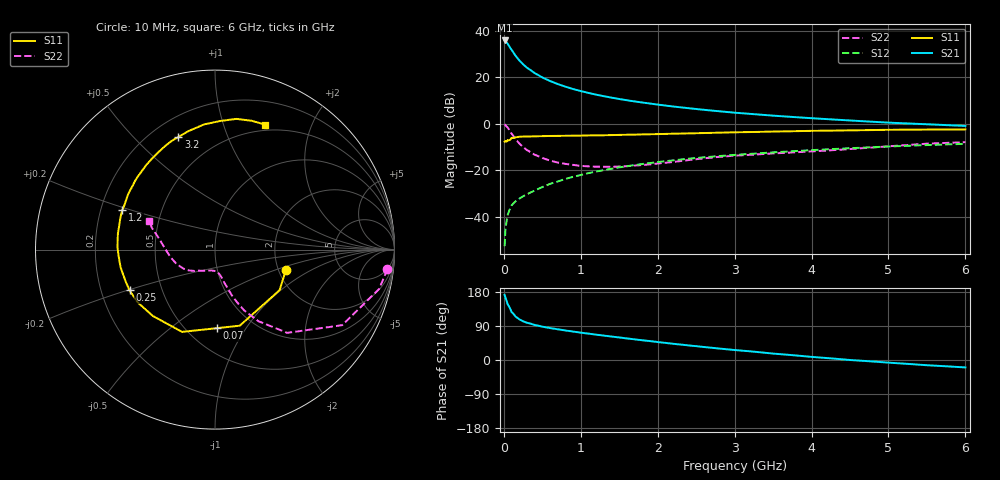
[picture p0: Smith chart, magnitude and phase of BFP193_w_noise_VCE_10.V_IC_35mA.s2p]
! Infineon Technologies  Discrete & RF Semiconductors
! BFP193
! VCE =  10. V,  IC =  35 mA
! Common Emitter S-Parameters:  Jan 2017
# GHz  S  MA  R  50
!  f  S11  S21  S12  S22
! GHz  MAG  ANG  MAG  ANG  MAG  ANG  MAG  ANG
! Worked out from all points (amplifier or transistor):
!   77 points, 10 MHz to 6 GHz, reference 50 ohm
!   highest |S21| = 35.8 dB at 10 MHz (marker M1)
!   |S21| within 3 dB of that: start of sweep to 79.75 MHz
!   unconditionally stable (mu >= 1): 698.2 MHz to 2.43 GHz
!   at 130 MHz: K = 0.49, MSG = 32.3 dB, |S12| = -34.2 dB
!   at 2.2 GHz: K = 1.01, MAG = 10.9 dB, |S12| = -15.8 dB
!   at 6 GHz: K = 0.90, MSG = 3.8 dB, |S12| = -8.7 dB
!   lowest NFmin = 1.29 dB at 450 MHz
!   S11 on the Smith chart (normalised r, x): 10 MHz: 2.19, -0.60; 70 MHz: 0.69, -0.75; 250 MHz: 0.32, -0.20; 1.2 GHz: 0.29, +0.19; 3.2 GHz: 0.31, +0.68; 6 GHz: 0.44, +1.39
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0.01  0.4107 -16.0  61.92 172.0  0.0023 76.2  0.9669 -6.5
0.02  0.4251 -32.1  60.95 165.3  0.0049 83.5  0.9402 -13.5
0.05  0.4458 -72.0  52.69 147.0  0.0108 66.1  0.8243 -30.7
0.07  0.4379 -88.8  46.55 140.4  0.0134 62.2  0.7317 -36.8
0.1  0.4938 -111.8  38.96 126.8  0.0174 58.5  0.6138 -49.1
0.15  0.5066 -133.1  29.28 115.0  0.0211 55.4  0.4674 -58.7
0.2  0.5217 -145.7  23.15 107.6  0.0242 55.5  0.3756 -64.4
0.25  0.5274 -154.5  19 102.1  0.0273 56.5  0.3137 -67.5
0.3  0.5287 -160.6  16.05 98.4  0.0301 58.0  0.2698 -69.9
0.4  0.5353 -169.5  12.28 92.4  0.0362 61.8  0.2147 -72.6
0.5  0.5381 -176.1  9.891 88.0  0.0431 63.4  0.1823 -74.9
0.7  0.5452 174.4  7.134 81.1  0.0568 64.9  0.1454 -78.5
0.9  0.5493 166.8  5.57 75.0  0.0717 64.9  0.1296 -83.3
1.1  0.5578 160.1  4.593 69.6  0.0861 63.9  0.1205 -88.5
1.2  0.5611 156.9  4.217 66.9  0.0927 63.2  0.1185 -91.6
1.6  0.577 145.1  3.193 56.9  0.1213 60.1  0.1214 -106.1
2.1  0.6011 131.5  2.456 45.2  0.1555 54.8  0.1439 -125.1
3.1  0.6555 109.9  1.674 24.6  0.2179 43.1  0.2088 -151.0
3.2  0.6597 108.0  1.625 22.9  0.2235 42.0  0.2134 -153.3
4.1  0.7032 93.3  1.281 6.7  0.2744 31.8  0.2582 -173.6
5.1  0.7388 79.4  1.035 -8.3  0.3266 20.6  0.3338 166.1
6  0.75 68.2  0.893 -19.6  0.3681 10.6  0.4003 156.3
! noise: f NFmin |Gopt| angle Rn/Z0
0.45  1.29  0.37  -172  0.08
0.9  1.35  0.4  -169  0.08
1.9  1.95  0.58  -135  0.18
2.4  2.29  0.62  -120  0.4
